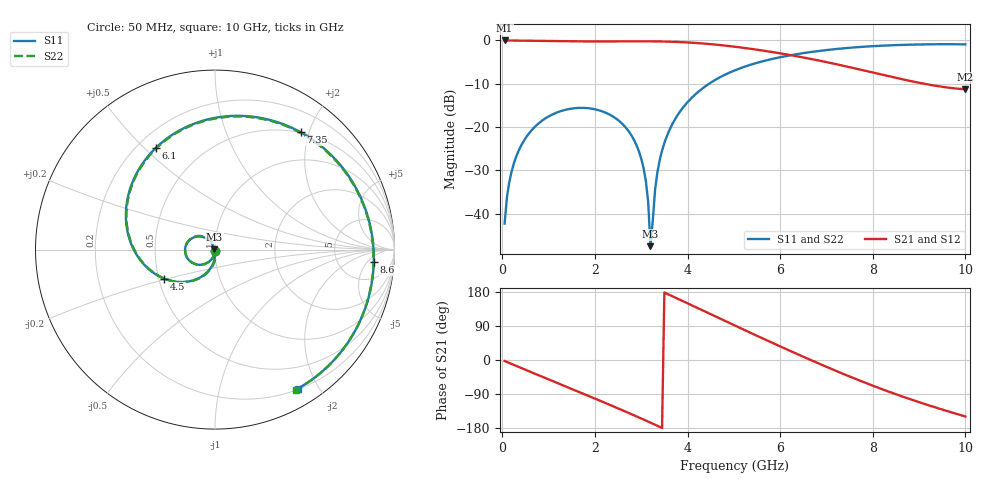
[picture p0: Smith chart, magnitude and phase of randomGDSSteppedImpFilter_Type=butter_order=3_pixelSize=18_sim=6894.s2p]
! freq	dB(S11)	phase(S11)	dB(S12)	phase(S12)
!  dB(S21)	phase(S21)	dB(S22)	phase(S22)
!S-par simulation data
#  GHz  S  DB  R 50
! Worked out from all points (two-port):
!   200 points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, 50 MHz to 10 GHz, reference 50 ohm
!   highest |S21| = 0.00 dB at 50 MHz (marker M1); lowest = -11.3 dB at 10 GHz (marker M2)
!   |S21| within 3 dB of the highest: start of sweep to 6.016 GHz
!   lowest |S11| = -47.5 dB at 3.2 GHz (marker M3), VSWR 1.01, Z = 49.6 + j0.206 ohm
!   |S11| at or under -10 dB: start of sweep to 4.464 GHz
!   |S22| runs from -49.7 to -0.9 dB; largest |S21 - S12| = 0
!   S11 on the Smith chart (normalised r, x): 50 MHz: 1.00, -0.02; 4.5 GHz: 0.54, -0.19; 6.1 GHz: 0.27, +0.54; 7.35 GHz: 0.49, +1.86; 8.6 GHz: 12, -8; 10 GHz: 0.21, -1.74
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0.05  -42.26 -92.1  -0.00 -2.6  -0.00 -2.6  -42.26 -92.1
0.1  -36.25 -95.0  -0.01 -5.2  -0.01 -5.2  -36.25 -95.0
0.2  -30.27 -100.3  -0.02 -10.4  -0.02 -10.4  -30.27 -100.4
0.5  -22.58 -115.9  -0.06 -25.8  -0.06 -25.8  -22.58 -116.1
1.15  -16.75 -149.2  -0.16 -58.8  -0.16 -58.8  -16.76 -149.7
1.75  -15.56 -179.5  -0.23 -89.1  -0.23 -89.1  -15.57 179.7
2.45  -17.98 145.1  -0.22 -125.0  -0.22 -125.0  -17.99 143.4
2.9  -24.22 122.7  -0.20 -148.9  -0.20 -148.9  -24.24 118.9
3.1  -32.44 116.1  -0.20 -159.8  -0.20 -159.8  -32.50 106.0
3.15  -37.20 118.4  -0.21 -162.5  -0.21 -162.5  -37.38 100.9
3.2  -47.48 150.6  -0.21 -165.3  -0.21 -165.3  -49.71 76.7
3.3  -34.39 -90.4  -0.22 -170.8  -0.22 -170.8  -34.46 -77.9
3.4  -27.57 -91.1  -0.24 -176.4  -0.24 -176.4  -27.59 -85.7
3.8  -17.00 -110.8  -0.36 161.0  -0.36 161.0  -17.01 -109.6
4.5  -9.75 -150.2  -0.85 120.8  -0.85 120.8  -9.76 -150.2
5.05  -6.78 178.6  -1.49 89.3  -1.49 89.3  -6.78 178.1
6.1  -3.66 120.1  -3.16 30.4  -3.16 30.4  -3.67 119.0
6.7  -2.62 87.7  -4.34 -2.1  -4.34 -2.1  -2.62 86.3
7.35  -1.83 53.9  -5.81 -36.0  -5.81 -36.0  -1.84 52.4
8.35  -1.14 6.4  -8.28 -83.7  -8.28 -83.7  -1.14 5.0
8.6  -1.04 -4.5  -8.88 -94.7  -8.88 -94.7  -1.04 -5.8
10  -0.90 -59.2  -11.27 -149.1  -11.27 -149.1  -0.90 -60.1
